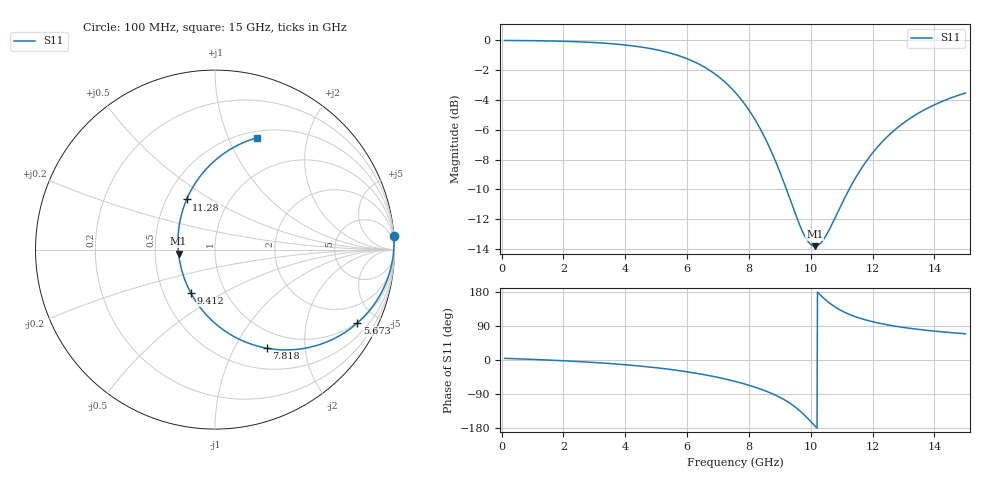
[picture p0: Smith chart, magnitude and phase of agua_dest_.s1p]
! TOUCHSTONE file generated by CST MICROWAVE STUDIO
! Date and time: Fri Dec  8 17:41:45 2023
! Project name: Sonda_v2.cst
! Parameters = {EConduct=0; Ep=1.00059; MagConduct=0; Mu=1}
! Header version: 2018
! Port assignment regex: !\s*Touchstone port\s*([0-9]+)\s*=\s*(CST MWS port|CST DS port)\s*([0-9]+|Zmin|Zmax)\s*\(\"(.*)\"\)(\s*mode\s*([0-9]+))?.*
! Touchstone port assignment:
! Touchstone port 1 = CST MWS port 1 ("")
# GHz S MA R 50
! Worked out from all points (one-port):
!   1001 points, 100 MHz to 15 GHz, reference 50 ohm
!   lowest |S11| = -13.8 dB at 10.13 GHz (marker M1), VSWR 1.51, Z = 33.1 - j1.63 ohm
!   |S11| at or under -10 dB: 9.214 GHz to 11.24 GHz (2.026 GHz wide, 19.8 % of centre)
!   S11 on the Smith chart (normalised r, x): 100 MHz: 0, +26; 5.673 GHz: 0.97, -3.90; 7.818 GHz: 0.76, -1.36; 9.412 GHz: 0.69, -0.36; 11.28 GHz: 0.63, +0.39; 15 GHz: 0.57, +1.28
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0.1  0.9996 4.3
1.9625  0.9935 -1.8
2.9757  0.984 -6.4
3.825  0.9693 -11.4
4.8233  0.9385 -18.8
5.6726  0.8928 -27.2
5.6875  0.8917 -27.4
6.1643  0.8538 -33.2
6.6113  0.8078 -39.5
7.1179  0.7411 -48.0
7.55  0.6706 -56.4
7.8182  0.6205 -62.3
8.1907  0.5438 -71.6
8.5632  0.4609 -82.5
9.0102  0.3598 -98.9
9.4125  0.2774 -118.9
9.8148  0.2195 -146.9
9.9787  0.2076 -160.5
10.1277  0.204 -173.4
10.2916  0.2077 172.9
10.4853  0.2208 158.2
11.275  0.3212 119.4
11.7071  0.3813 107.4
12.1541  0.4384 98.2
12.6309  0.492 90.6
13.1375  0.5411 84.3
14.0017  0.6083 76.2
15  0.6662 69.3
